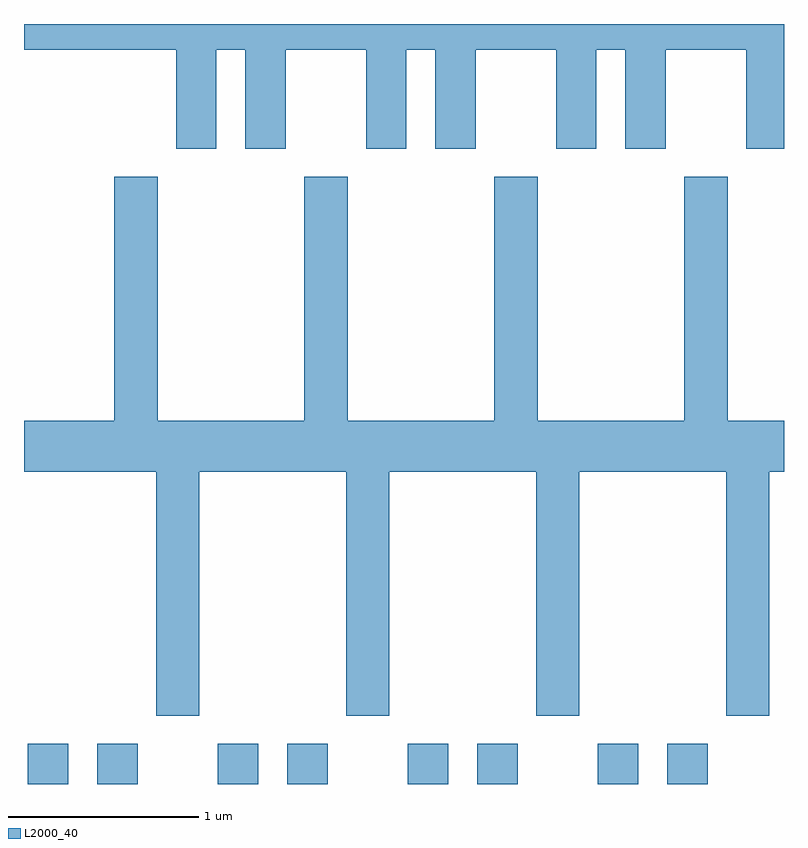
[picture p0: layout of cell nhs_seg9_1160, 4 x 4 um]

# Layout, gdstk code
import gdstk
lib = gdstk.Library(unit=1e-6, precision=1e-09)
def R(c, l, rs):  # rectangles x0, y0, x1, y1
    for r in rs: c.add(gdstk.rectangle(r[:2], r[2:], *l))
def P(c, l, *ps):  # polygons
    for p in ps: c.add(gdstk.Polygon(p, *l))
L2000_40 = (2000, 40)

nhs_seg9_1160 = lib.new_cell('nhs_seg9_1160')
R(nhs_seg9_1160, L2000_40, [(219.631,1952.432,219.844,1952.644), (219.996,1952.432,220.209,1952.644), (220.631,1952.432,220.844,1952.644), (220.996,1952.432,221.209,1952.644), (221.631,1952.432,221.844,1952.644), (221.996,1952.432,222.209,1952.644), (222.631,1952.432,222.844,1952.644), (222.996,1952.432,223.209,1952.644)])
P(nhs_seg9_1160, L2000_40, [(220.624,1956.296),(220.776,1956.296),(220.776,1955.776),(220.989,1955.776),(220.989,1956.296),(221.411,1956.296),(221.411,1955.776),(221.624,1955.776),(221.624,1956.296),(221.776,1956.296),(221.776,1955.776),(221.989,1955.776),(221.989,1956.296),(222.411,1956.296),(222.411,1955.776),(222.624,1955.776),(222.624,1956.296),(222.776,1956.296),(222.776,1955.776),(222.989,1955.776),(222.989,1956.296),(223.411,1956.296),(223.411,1955.776),(223.611,1955.776),(223.611,1956.432),(219.611,1956.432),(219.611,1956.296),(220.411,1956.296),(220.411,1955.776),(220.624,1955.776)],
  [(220.534,1954.076),(221.306,1954.076),(221.306,1952.791),(221.534,1952.791),(221.534,1954.076),(222.306,1954.076),(222.306,1952.791),(222.534,1952.791),(222.534,1954.076),(223.306,1954.076),(223.306,1952.791),(223.534,1952.791),(223.534,1954.076),(223.611,1954.076),(223.611,1954.344),(223.314,1954.344),(223.314,1955.629),(223.086,1955.629),(223.086,1954.344),(222.314,1954.344),(222.314,1955.629),(222.086,1955.629),(222.086,1954.344),(221.314,1954.344),(221.314,1955.629),(221.086,1955.629),(221.086,1954.344),(220.314,1954.344),(220.314,1955.629),(220.086,1955.629),(220.086,1954.344),(219.611,1954.344),(219.611,1954.076),(220.306,1954.076),(220.306,1952.791),(220.534,1952.791)])

lib.write_gds('nhs_seg9_1160.gds')
